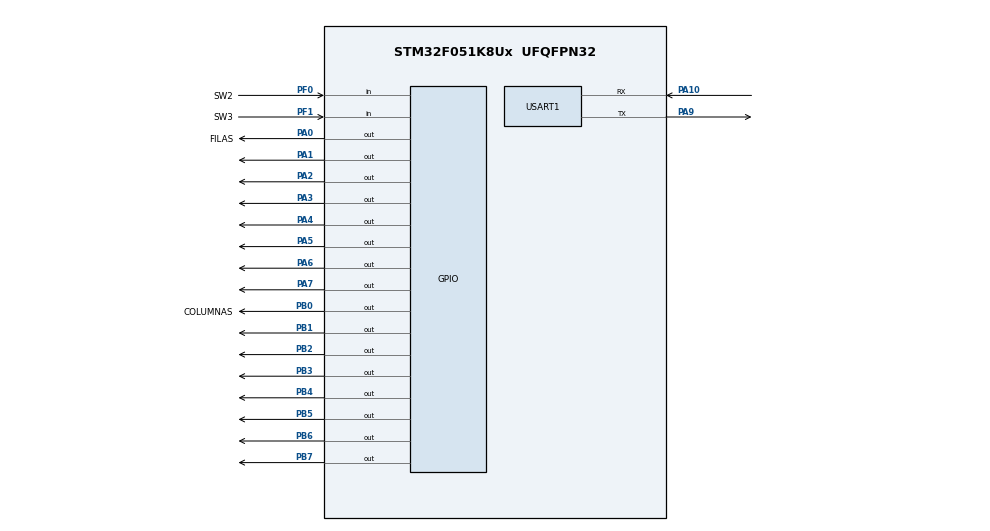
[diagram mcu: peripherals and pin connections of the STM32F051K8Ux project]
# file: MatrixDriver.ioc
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Mcu.Family=STM32F0
Mcu.Name=STM32F051K8Ux
Mcu.Package=UFQFPN32
PA0.GPIO_Label=FILAS
PA0.Signal=GPIO_Output
PA1.Signal=GPIO_Output
PA10.Mode=Asynchronous
PA10.Signal=USART1_RX
PA13.Mode=Serial_Wire
PA13.Signal=SYS_SWDIO
PA14.Mode=Serial_Wire
PA14.Signal=SYS_SWCLK
PA2.Signal=GPIO_Output
PA3.Signal=GPIO_Output
PA4.Signal=GPIO_Output
PA5.Signal=GPIO_Output
PA6.Signal=GPIO_Output
PA7.Signal=GPIO_Output
PA9.Mode=Asynchronous
PA9.Signal=USART1_TX
PB0.GPIO_Label=COLUMNAS
PB0.Signal=GPIO_Output
PB1.Signal=GPIO_Output
PB2.Signal=GPIO_Output
PB3.Signal=GPIO_Output
PB4.Signal=GPIO_Output
PB5.Signal=GPIO_Output
PB6.Signal=GPIO_Output
PB7.Signal=GPIO_Output
PF0-OSC_IN.GPIO_Label=SW2
PF0-OSC_IN.GPIO_PuPd=GPIO_PULLUP
PF0-OSC_IN.Signal=GPIO_Input
PF1-OSC_OUT.GPIO_Label=SW3
PF1-OSC_OUT.GPIO_PuPd=GPIO_PULLUP
PF1-OSC_OUT.Signal=GPIO_Input
ProjectManager.HeapSize=0x200
ProjectManager.StackSize=0x400
ProjectManager.TargetToolchain=CMake
USART1.VirtualMode-Asynchronous=VM_ASYNC
VP_TIM3_VS_ClockSourceINT.Mode=Internal
board=custom

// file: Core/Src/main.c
/* USER CODE BEGIN Header */
/**
  ******************************************************************************
  * @file           : main.c
  * @brief          : Main program body
  ******************************************************************************
  * @attention
  *
  * Copyright (c) 2025 STMicroelectronics.
  * All rights reserved.
  *
  * This software is licensed under terms that can be found in the LICENSE file
  * in the root directory of this software component.
  * If no LICENSE file comes with this software, it is provided AS-IS.
  *
  ******************************************************************************
  */
/* USER CODE END Header */
#include "main.h"

/* USER CODE BEGIN Includes */
#include "includes.h"
#include "matrixstate.h"
#include "utils.h"

/* USER CODE END Includes */

/* USER CODE BEGIN PD */
// #define MAX_FIL 8
#define MAX_COL 5
#define TIMER htim3
/* USER CODE END PD */

TIM_HandleTypeDef htim3;

UART_HandleTypeDef huart1;

void SystemClock_Config(void);
static void MX_GPIO_Init(void);
static void MX_TIM3_Init(void);
static void MX_USART1_UART_Init(void);
/* USER CODE BEGIN PFP */
// void Delay_us(uint16_t us);
/* USER CODE END PFP */

int main(void)
{

  /* MCU Configuration--------------------------------------------------------*/

  /* Reset of all peripherals, Initializes the Flash interface and the Systick. */
  HAL_Init();

  /* USER CODE BEGIN Init */
  Matrix_t pantalla;
  /* USER CODE END Init */

  /* Configure the system clock */
  SystemClock_Config();

  /* Initialize all configured peripherals */
  MX_GPIO_Init();
  MX_TIM3_Init();
  MX_USART1_UART_Init();
  /* USER CODE BEGIN 2 */

  HAL_TIM_Base_Start(&TIMER);

  uint32_t millis = HAL_GetTick();
  Matrix_Init(&pantalla,8,8,FILAS_GPIO_Port,COLUMNAS_GPIO_Port,FILAS_Pin,COLUMNAS_Pin,0);
  uint8_t contador=5;

  uint8_t boton2 = 0;
  uint8_t boton3 = 0;

  /* USER CODE END 2 */

  /* Infinite loop */
  while (1)
  {

    /* USER CODE BEGIN 3 */
    // Maquina_Estado();
    multiplexado(&pantalla);
    if(HAL_GetTick()-millis > 200){
      millis = HAL_GetTick();
      // negate_output(&pantalla);
      boton2 = HAL_GPIO_ReadPin(SW2_GPIO_Port,SW2_Pin);
      boton3 = HAL_GPIO_ReadPin(SW3_GPIO_Port,SW3_Pin);

      if (!boton2)
      {
        matrix_rotate(&pantalla);
        if (contador>0)
        {
          contador--;
        }
        else
        {
          contador=10;
        }
      }
      if (!boton3)
      {
        // matrix_rotate(&pantalla);
        if (contador<10)
        {
          contador++;
        }
        else
        {
          contador=0;
        }
      }
      load_output(&pantalla,digits[contador]);
      flip_x(&pantalla);
      flip_y(&pantalla);

    }
  }
  /* USER CODE END 3 */
}

void SystemClock_Config(void)
{
  RCC_OscInitTypeDef RCC_OscInitStruct = {0};
  RCC_ClkInitTypeDef RCC_ClkInitStruct = {0};
  RCC_PeriphCLKInitTypeDef PeriphClkInit = {0};

  /** Initializes the RCC Oscillators according to the specified parameters
  * in the RCC_OscInitTypeDef structure.
  */
  RCC_OscInitStruct.OscillatorType = RCC_OSCILLATORTYPE_HSI;
  RCC_OscInitStruct.HSIState = RCC_HSI_ON;
  RCC_OscInitStruct.HSICalibrationValue = RCC_HSICALIBRATION_DEFAULT;
  RCC_OscInitStruct.PLL.PLLState = RCC_PLL_NONE;
  if (HAL_RCC_OscConfig(&RCC_OscInitStruct) != HAL_OK)
  {
    Error_Handler();
  }

  /** Initializes the CPU, AHB and APB buses clocks
  */
  RCC_ClkInitStruct.ClockType = RCC_CLOCKTYPE_HCLK|RCC_CLOCKTYPE_SYSCLK
                              |RCC_CLOCKTYPE_PCLK1;
  RCC_ClkInitStruct.SYSCLKSource = RCC_SYSCLKSOURCE_HSI;
  RCC_ClkInitStruct.AHBCLKDivider = RCC_SYSCLK_DIV1;
  RCC_ClkInitStruct.APB1CLKDivider = RCC_HCLK_DIV1;

  if (HAL_RCC_ClockConfig(&RCC_ClkInitStruct, FLASH_LATENCY_0) != HAL_OK)
  {
    Error_Handler();
  }
  PeriphClkInit.PeriphClockSelection = RCC_PERIPHCLK_USART1;
  PeriphClkInit.Usart1ClockSelection = RCC_USART1CLKSOURCE_PCLK1;
  if (HAL_RCCEx_PeriphCLKConfig(&PeriphClkInit) != HAL_OK)
  {
    Error_Handler();
  }
}

static void MX_TIM3_Init(void)
{

  TIM_ClockConfigTypeDef sClockSourceConfig = {0};
  TIM_MasterConfigTypeDef sMasterConfig = {0};

  htim3.Instance = TIM3;
  htim3.Init.Prescaler = 0;
  htim3.Init.CounterMode = TIM_COUNTERMODE_UP;
  htim3.Init.Period = 65535;
  htim3.Init.ClockDivision = TIM_CLOCKDIVISION_DIV1;
  htim3.Init.AutoReloadPreload = TIM_AUTORELOAD_PRELOAD_DISABLE;
  if (HAL_TIM_Base_Init(&htim3) != HAL_OK)
  {
    Error_Handler();
  }
  sClockSourceConfig.ClockSource = TIM_CLOCKSOURCE_INTERNAL;
  if (HAL_TIM_ConfigClockSource(&htim3, &sClockSourceConfig) != HAL_OK)
  {
    Error_Handler();
  }
  sMasterConfig.MasterOutputTrigger = TIM_TRGO_RESET;
  sMasterConfig.MasterSlaveMode = TIM_MASTERSLAVEMODE_DISABLE;
  if (HAL_TIMEx_MasterConfigSynchronization(&htim3, &sMasterConfig) != HAL_OK)
  {
    Error_Handler();
  }

}

static void MX_USART1_UART_Init(void)
{

  huart1.Instance = USART1;
  huart1.Init.BaudRate = 38400;
  huart1.Init.WordLength = UART_WORDLENGTH_8B;
  huart1.Init.StopBits = UART_STOPBITS_1;
  huart1.Init.Parity = UART_PARITY_NONE;
  huart1.Init.Mode = UART_MODE_TX_RX;
  huart1.Init.HwFlowCtl = UART_HWCONTROL_NONE;
  huart1.Init.OverSampling = UART_OVERSAMPLING_16;
  huart1.Init.OneBitSampling = UART_ONE_BIT_SAMPLE_DISABLE;
  huart1.AdvancedInit.AdvFeatureInit = UART_ADVFEATURE_NO_INIT;
  if (HAL_UART_Init(&huart1) != HAL_OK)
  {
    Error_Handler();
  }

}

static void MX_GPIO_Init(void)
{
  GPIO_InitTypeDef GPIO_InitStruct = {0};

  /* GPIO Ports Clock Enable */
  __HAL_RCC_GPIOF_CLK_ENABLE();
  __HAL_RCC_GPIOA_CLK_ENABLE();
  __HAL_RCC_GPIOB_CLK_ENABLE();

  /*Configure GPIO pin Output Level */
  HAL_GPIO_WritePin(GPIOA, FILAS_Pin|GPIO_PIN_1|GPIO_PIN_2|GPIO_PIN_3
                          |GPIO_PIN_4|GPIO_PIN_5|GPIO_PIN_6|GPIO_PIN_7, GPIO_PIN_RESET);

  /*Configure GPIO pin Output Level */
  HAL_GPIO_WritePin(GPIOB, COLUMNAS_Pin|GPIO_PIN_1|GPIO_PIN_2|GPIO_PIN_3
                          |GPIO_PIN_4|GPIO_PIN_5|GPIO_PIN_6|GPIO_PIN_7, GPIO_PIN_RESET);

  /*Configure GPIO pins : SW2_Pin SW3_Pin */
  GPIO_InitStruct.Pin = SW2_Pin|SW3_Pin;
  GPIO_InitStruct.Mode = GPIO_MODE_INPUT;
  GPIO_InitStruct.Pull = GPIO_PULLUP;
  HAL_GPIO_Init(GPIOF, &GPIO_InitStruct);

  /*Configure GPIO pins : FILAS_Pin PA1 PA2 PA3
                           PA4 PA5 PA6 PA7 */
  GPIO_InitStruct.Pin = FILAS_Pin|GPIO_PIN_1|GPIO_PIN_2|GPIO_PIN_3
                          |GPIO_PIN_4|GPIO_PIN_5|GPIO_PIN_6|GPIO_PIN_7;
  GPIO_InitStruct.Mode = GPIO_MODE_OUTPUT_PP;
  GPIO_InitStruct.Pull = GPIO_NOPULL;
  GPIO_InitStruct.Speed = GPIO_SPEED_FREQ_LOW;
  HAL_GPIO_Init(GPIOA, &GPIO_InitStruct);

  /*Configure GPIO pins : COLUMNAS_Pin PB1 PB2 PB3
                           PB4 PB5 PB6 PB7 */
  GPIO_InitStruct.Pin = COLUMNAS_Pin|GPIO_PIN_1|GPIO_PIN_2|GPIO_PIN_3
                          |GPIO_PIN_4|GPIO_PIN_5|GPIO_PIN_6|GPIO_PIN_7;
  GPIO_InitStruct.Mode = GPIO_MODE_OUTPUT_PP;
  GPIO_InitStruct.Pull = GPIO_NOPULL;
  GPIO_InitStruct.Speed = GPIO_SPEED_FREQ_LOW;
  HAL_GPIO_Init(GPIOB, &GPIO_InitStruct);

}

/* USER CODE BEGIN 4 */
// void Delay_us(uint16_t us)
// {
//     __HAL_TIM_SET_COUNTER(&TIMER, 0);
//     while (__HAL_TIM_GET_COUNTER(&TIMER) < us);
// }

/* USER CODE END 4 */

void Error_Handler(void)
{
  __disable_irq();
  while (1)
  {
  }
}
